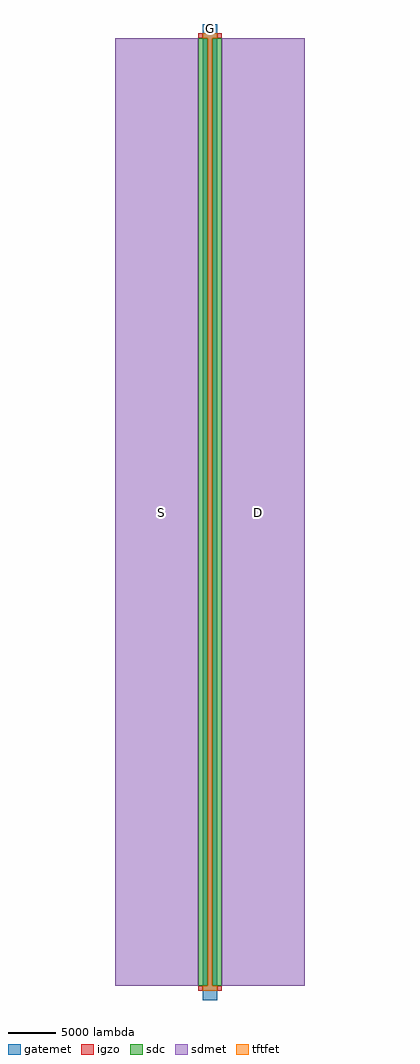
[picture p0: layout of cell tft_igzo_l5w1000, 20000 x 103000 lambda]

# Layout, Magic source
magic
tech igzo_mmm_lab
<< igzo >>
rect -1250 50000 -750 50500
rect 750 50000 1250 50500
rect -1250 -50500 -750 -50000
rect 750 -50500 1250 -50000
<< tftfet >>
rect -750 50000 750 50500
rect -250 -50000 250 50000
rect -750 -50500 750 -50000
<< sdc >>
rect -1250 -50000 -250 50000
rect 250 -50000 1250 50000
<< sdmet >>
rect -10000 -50000 -1250 50000
rect 1250 -50000 10000 50000
<< gatemet >>
rect -750 -51500 750 51500
<< labels >>
rlabel sdmet s -5613 -488 -4637 488 4 S
port 3 nsew
rlabel sdmet s 4637 -488 5613 488 4 D
port 5 nsew
rlabel gatemet s -488 50512 488 51488 4 G
port 7 nsew
<< end >>
